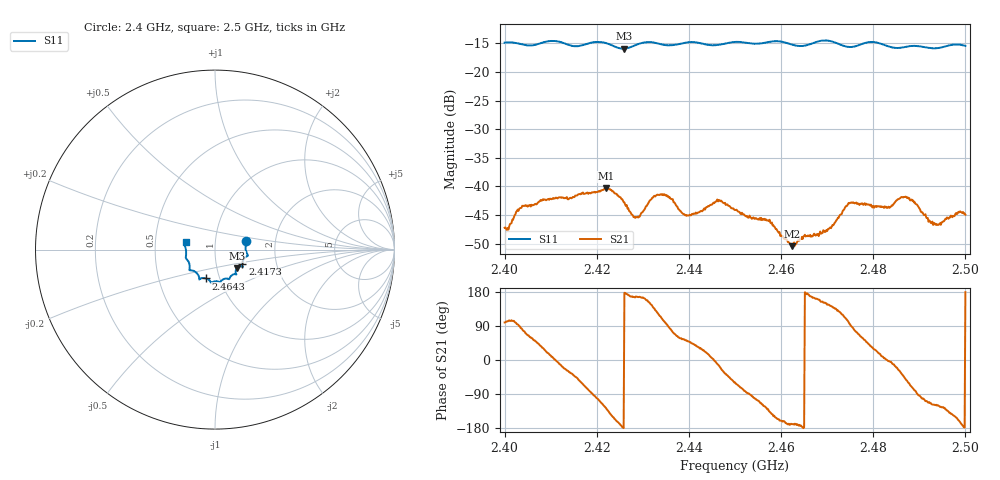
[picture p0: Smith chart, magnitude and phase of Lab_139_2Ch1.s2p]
# Hz S RI R 50
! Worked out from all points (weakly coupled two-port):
!   601 points, 2.4 GHz to 2.5 GHz, reference 50 ohm
!   highest |S21| = -40.36 dB at 2.422 GHz (marker M1); lowest = -50.5 dB at 2.4623 GHz (marker M2)
!   lowest |S11| = -15.9 dB at 2.4258 GHz (marker M3), VSWR 1.38, Z = 62.3 - j13.3 ohm
!   |S11| at or under -10 dB: start of sweep to end of sweep
!   S12 and S22 are empty: the file has one direction only
!   S11 on the Smith chart (normalised r, x): 2.4 GHz: 1.41, +0.15; 2.4173 GHz: 1.34, -0.23; 2.4643 GHz: 0.86, -0.28; 2.5 GHz: 0.72, +0.06
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2.4e9  0.1734 0.0499  -0.00068 0.00429  0 0  0 0
2.404e9  0.1717 0.0252  0.00145 0.00658  0 0  0 0
2.416667e9  0.1531 -0.0742  0.00437 -0.00752  0 0  0 0
2.417333e9  0.1527 -0.0819  0.00319 -0.00799  0 0  0 0
2.422e9  0.1517 -0.0945  -0.00573 -0.00769  0 0  0 0
2.425833e9  0.1214 -0.104  -0.00728 -2.11e-05  0 0  0 0
2.428833e9  0.1155 -0.1304  -0.00527 0.00127  0 0  0 0
2.433333e9  0.1126 -0.1365  -0.00444 0.00715  0 0  0 0
2.436e9  0.0943 -0.1426  0.00108 0.00771  0 0  0 0
2.4395e9  0.0807 -0.1618  0.00341 0.00434  0 0  0 0
2.4465e9  0.0434 -0.1672  0.00736 -0.00191  0 0  0 0
2.45e9  0.0295 -0.1807  0.0032 -0.00532  0 0  0 0
2.4575e9  -0.0165 -0.1824  -0.00368 -0.00354  0 0  0 0
2.462333e9  -0.0316 -0.1708  -0.00295 -0.000558  0 0  0 0
2.464333e9  -0.0503 -0.1606  -0.00343 -0.000408  0 0  0 0
2.466667e9  -0.0764 -0.1597  -0.00356 0.000849  0 0  0 0
2.4705e9  -0.0873 -0.1651  -0.00351 0.00248  0 0  0 0
2.475e9  -0.1067 -0.1262  -0.000424 0.00717  0 0  0 0
2.483333e9  -0.141 -0.0896  0.00663 -0.000372  0 0  0 0
2.487333e9  -0.1577 -0.0541  0.00458 -0.00645  0 0  0 0
2.493833e9  -0.1614 -0.00355  -0.00231 -0.00397  0 0  0 0
2.5e9  -0.1636 0.0419  -0.00565 0.000101  0 0  0 0
